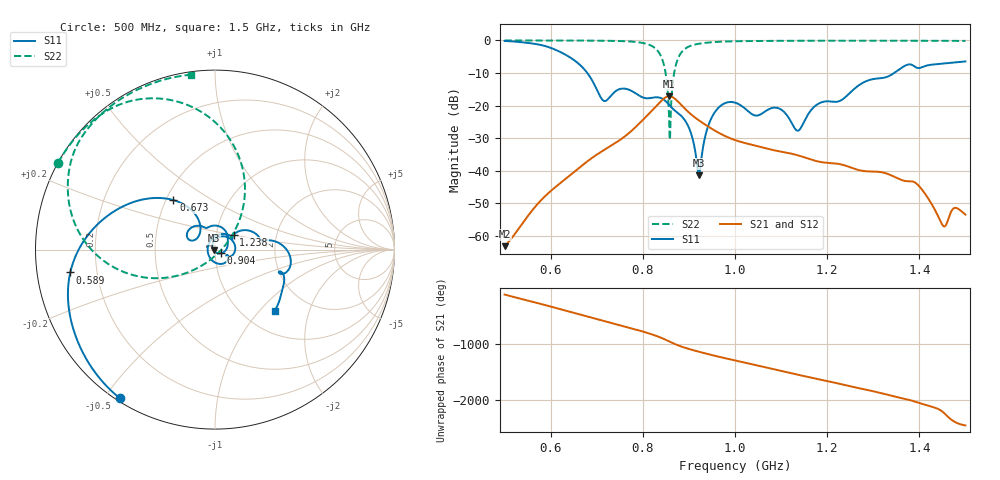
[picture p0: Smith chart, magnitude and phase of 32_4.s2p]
! TOUCHSTONE file generated by CST MICROWAVE STUDIO
! Date and time: Fri Oct  2 16:59:37 2020
! Project name: Scenario_1_Free_Space_out_of_line.cst
! Parameters = {Lambda=346.42; Step_1=17.321; dy1=-189.931; dx1=693; L_HA=400; MT=2.54; Rad_Dielectric=30; Rad_Lower=7.3; Rad_Upper=30; a_HA=580; a_WG=246; b_HA=500; b_WG=121; c_HA=0; c_WG=187; d_feed=85; h_feed=15; h_lower=18; h_upper=40}
! Header version: 2018
! Port assignment regex: !\s*Touchstone port\s*([0-9]+)\s*=\s*(CST MWS port|CST DS port)\s*([0-9]+|Zmin|Zmax)\s*\(\"(.*)\"\)(\s*mode\s*([0-9]+))?.*
! Touchstone port assignment:
! Touchstone port 1 = CST MWS port 1 ("")
! Touchstone port 2 = CST MWS port 2 ("")
# GHz S DB R 50
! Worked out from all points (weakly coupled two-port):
!   1003 points, 500 MHz to 1.5 GHz, reference 50 ohm
!   highest |S21| = -17.13 dB at 857 MHz (marker M1); lowest = -63.2 dB at 500 MHz (marker M2)
!   lowest |S11| = -41.4 dB at 922 MHz (marker M3), VSWR 1.02, Z = 49.3 - j0.42 ohm
!   |S11| at or under -10 dB: 679.5 MHz to 1.345 GHz (665.8 MHz wide, 65.8 % of centre)
!   |S22| runs from -30.4 to 0.0 dB; largest |S21 - S12| = 9e-05
!   S11 on the Smith chart (normalised r, x): 500 MHz: 0.01, -0.55; 589 MHz: 0.10, -0.08; 673 MHz: 0.55, +0.35; 904 MHz: 1.07, -0.04; 1.238 GHz: 1.21, +0.20; 1.5 GHz: 1.38, -1.22
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0.5  -0.15 -122.7  -63.16 -121.0  -63.16 -121.0  -0.01 151.1
0.589  -1.76 -171.0  -47.64 48.5  -47.64 48.5  -0.02 144.9
0.667  -7.97 134.4  -38.52 -124.2  -38.52 -124.2  -0.04 138.3
0.673  -8.87 130.0  -37.84 -137.9  -37.84 -137.9  -0.05 137.7
0.716  -18.59 141.3  -33.63 124.0  -33.63 124.0  -0.10 132.7
0.788  -16.58 119.2  -26.09 -33.5  -26.09 -33.5  -0.52 117.5
0.834  -17.49 84.9  -19.38 -156.1  -19.38 -156.1  -3.51 86.2
0.847  -18.34 62.9  -17.69 159.4  -17.69 159.4  -8.25 64.4
0.857  -19.76 47.0  -17.13 121.0  -17.13 121.0  -24.16 23.1
0.875  -22.15 24.0  -18.59 54.6  -18.59 54.6  -6.03 -164.4
0.904  -28.27 -32.2  -22.63 -24.4  -22.63 -24.4  -1.64 165.5
0.922  -41.35 -150.1  -24.57 -65.3  -24.57 -65.3  -1.00 157.1
0.952  -22.99 75.1  -27.33 -128.8  -27.33 -128.8  -0.53 148.6
1  -19.09 -4.9  -30.59 140.1  -30.59 140.1  -0.25 140.2
1.096  -20.90 -59.6  -34.04 -38.4  -34.04 -38.4  -0.12 130.0
1.136  -27.73 179.4  -35.25 -114.6  -35.25 -114.6  -0.11 126.6
1.167  -21.08 73.5  -36.67 -171.6  -36.67 -171.6  -0.09 124.1
1.238  -17.59 38.2  -38.36 58.8  -38.36 58.8  -0.09 118.7
1.334  -10.94 10.2  -41.12 -121.1  -41.12 -121.1  -0.09 111.4
1.396  -8.45 -19.9  -44.21 108.1  -44.21 108.1  -0.10 106.5
1.453  -7.09 -32.8  -57.06 -75.5  -57.14 -74.8  -0.12 101.9
1.5  -6.44 -45.6  -53.45 56.2  -53.40 57.2  -0.14 97.8
